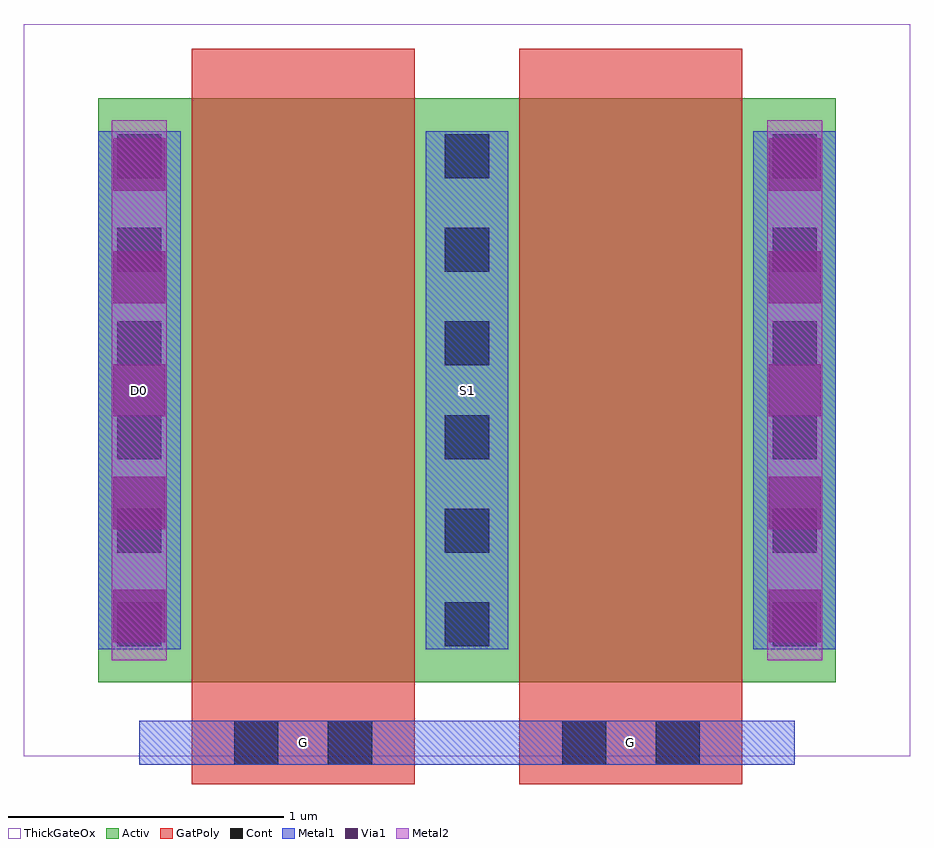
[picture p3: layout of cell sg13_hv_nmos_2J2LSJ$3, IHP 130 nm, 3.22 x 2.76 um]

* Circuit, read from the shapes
.subckt sg13_hv_nmos_2J2LSJ$3 D0 G S1
XM1 S1 G D0 VSUBS sg13_hv_nmos w=2.12u l=0.81u
XM2 n1 G S1 VSUBS sg13_hv_nmos w=2.12u l=0.81u
.ends

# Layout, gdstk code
import gdstk
lib = gdstk.Library(unit=1e-6, precision=1e-09)
def R(c, l, rs):  # rectangles x0, y0, x1, y1
    for r in rs: c.add(gdstk.rectangle(r[:2], r[2:], *l))
def A(c, l, x, y, w, h, nx, ny, dx, dy):  # array of equal rectangles
    R(c, l, [(x+i*dx, y+j*dy, x+i*dx+w, y+j*dy+h) for i in range(nx) for j in range(ny)])
Activ = (1, 0)
GatPoly = (5, 0)
Cont = (6, 0)
Metal1 = (8, 0)
Metal2 = (10, 0)
Via1 = (19, 0)
ThickGateOx = (44, 0)

sg13_hv_nmos_2j2lsj_3 = lib.new_cell('sg13_hv_nmos_2J2LSJ$3')
R(sg13_hv_nmos_2j2lsj_3, Activ, [(-1.34,-0.965,1.34,1.155)])
R(sg13_hv_nmos_2j2lsj_3, GatPoly, [(-1,-1.335,-0.19,1.335), (0.19,-1.335,1,1.335)])
A(sg13_hv_nmos_2j2lsj_3, Cont, -1.27, -0.835, 0.16, 0.16, 3, 6, 1.19, 0.34)
R(sg13_hv_nmos_2j2lsj_3, Cont, [(-0.845,-1.265,-0.685,-1.105), (-0.505,-1.265,-0.345,-1.105), (0.345,-1.265,0.505,-1.105), (0.685,-1.265,0.845,-1.105)])
A(sg13_hv_nmos_2j2lsj_3, Metal1, -1.34, -0.845, 0.3, 1.88, 3, 1, 1.19, 0)
R(sg13_hv_nmos_2j2lsj_3, Metal1, [(-1.19,-1.265,1.19,-1.105)])
R(sg13_hv_nmos_2j2lsj_3, Metal2, [(-1.29,-0.885,-1.09,1.075), (1.09,-0.885,1.29,1.075)])
A(sg13_hv_nmos_2j2lsj_3, Via1, -1.285, -0.82, 0.19, 0.19, 1, 5, 0, 0.41)
A(sg13_hv_nmos_2j2lsj_3, Via1, 1.095, -0.82, 0.19, 0.19, 1, 5, 0, 0.41)
R(sg13_hv_nmos_2j2lsj_3, ThickGateOx, [(-1.61,-1.235,1.61,1.425)])
sg13_hv_nmos_2j2lsj_3.add(gdstk.Label('D0', (-1.19,0.095), layer=8, texttype=25))
sg13_hv_nmos_2j2lsj_3.add(gdstk.Label('G', (0.595,-1.185), layer=8, texttype=25))
sg13_hv_nmos_2j2lsj_3.add(gdstk.Label('G', (-0.595,-1.185), layer=8, texttype=25))
sg13_hv_nmos_2j2lsj_3.add(gdstk.Label('S1', (0,0.095), layer=8, texttype=25))

lib.write_gds('sg13_hv_nmos_2J2LSJ_3.gds')
